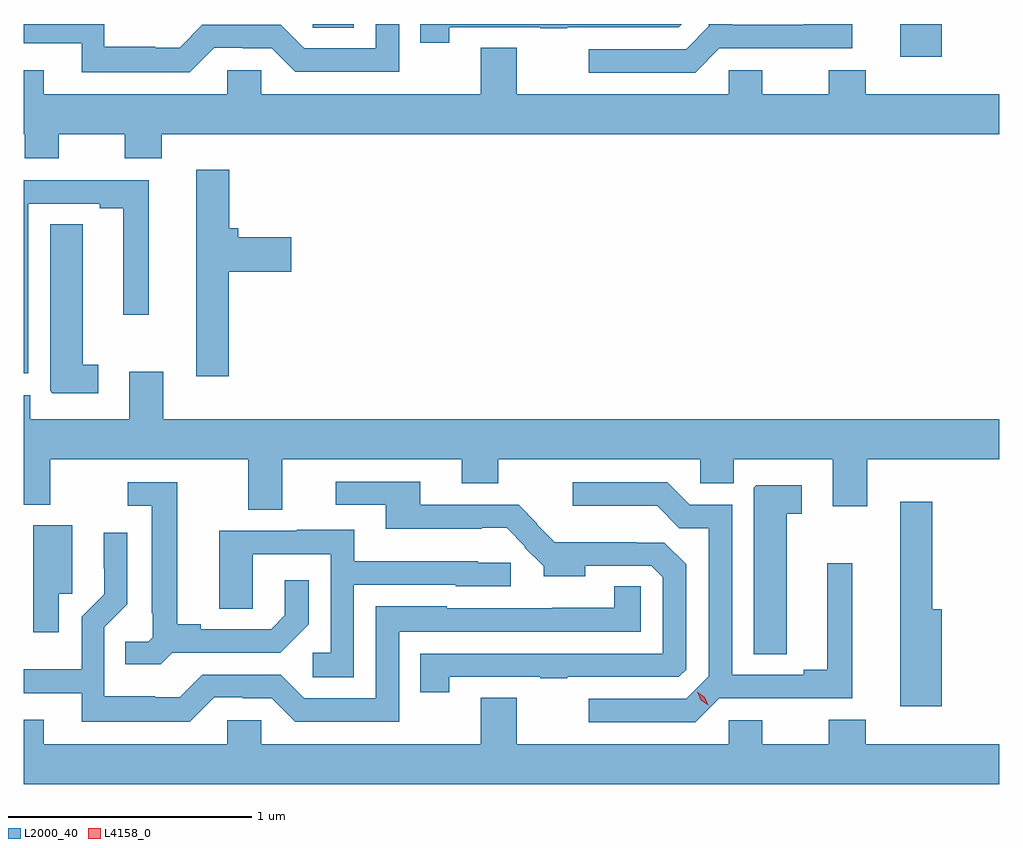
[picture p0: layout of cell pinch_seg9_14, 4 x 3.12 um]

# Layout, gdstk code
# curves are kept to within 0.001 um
import gdstk
lib = gdstk.Library(unit=1e-6, precision=1e-09)
def R(c, l, rs):  # rectangles x0, y0, x1, y1
    for r in rs: c.add(gdstk.rectangle(r[:2], r[2:], *l))
def P(c, l, *ps):  # polygons
    for p in ps: c.add(gdstk.Polygon(p, *l))
L2000_40 = (2000, 40)
L4158_0 = (4158, 0)

pinch_seg9_14 = lib.new_cell('pinch_seg9_14')
R(pinch_seg9_14, L2000_40, [(1051.106,1210.058,1051.277,1210.192), (1048.698,1210.177,1048.866,1210.192)])
P(pinch_seg9_14, L2000_40, [(1050.364,1210.092),(1050.91,1210.092),(1050.91,1210.192),(1050.71,1210.192),(1050.71,1210.188),(1050.417,1210.188),(1050.417,1210.192),(1050.321,1210.192),(1050.321,1210.182),(1050.228,1210.089),(1049.829,1210.089),(1049.829,1209.993),(1050.265,1209.993)],
  [(1049.256,1210.179),(1049.629,1210.179),(1049.629,1210.174),(1049.741,1210.174),(1049.741,1210.179),(1050.198,1210.179),(1050.211,1210.192),(1049.137,1210.192),(1049.137,1210.116),(1049.256,1210.116)],
  [(1048.293,1210.095),(1048.41,1210.095),(1048.41,1210.092),(1048.53,1210.092),(1048.626,1209.996),(1049.052,1209.996),(1049.052,1210.192),(1048.956,1210.192),(1048.956,1210.092),(1048.662,1210.092),(1048.566,1210.188),(1048.245,1210.188),(1048.152,1210.095),(1048.052,1210.095),(1048.052,1210.099),(1047.843,1210.099),(1047.843,1210.192),(1047.512,1210.192),(1047.512,1210.113),(1047.749,1210.113),(1047.749,1209.995),(1048.193,1209.995)],
  [(1047.512,1209.74),(1047.516,1209.74),(1047.516,1209.642),(1047.655,1209.642),(1047.655,1209.74),(1047.926,1209.74),(1047.926,1209.641),(1048.079,1209.641),(1048.079,1209.74),(1051.512,1209.74),(1051.512,1209.904),(1050.965,1209.904),(1050.965,1210.003),(1050.812,1210.003),(1050.812,1209.904),(1050.541,1209.904),(1050.541,1210.002),(1050.402,1210.002),(1050.402,1209.904),(1049.533,1209.904),(1049.533,1210.094),(1049.386,1210.094),(1049.386,1209.904),(1048.485,1209.904),(1048.485,1210.002),(1048.347,1210.002),(1048.347,1209.904),(1047.595,1209.904),(1047.595,1210.003),(1047.512,1210.003)],
  [(1048.352,1209.176),(1048.609,1209.176),(1048.609,1209.318),(1048.391,1209.318),(1048.391,1209.354),(1048.355,1209.354),(1048.355,1209.595),(1048.22,1209.595),(1048.22,1208.748),(1048.352,1208.748)],
  [(1047.531,1209.456),(1047.824,1209.456),(1047.824,1209.436),(1047.92,1209.436),(1047.92,1209),(1048.024,1209),(1048.024,1209.552),(1047.512,1209.552),(1047.512,1208.76),(1047.531,1208.76)],
  [(1047.817,1208.795),(1047.754,1208.795),(1047.754,1209.371),(1047.62,1209.371),(1047.62,1208.689),(1047.63,1208.679),(1047.817,1208.679)],
  [(1048.573,1208.408),(1049.309,1208.408),(1049.309,1208.309),(1049.457,1208.309),(1049.457,1208.408),(1050.285,1208.408),(1050.285,1208.31),(1050.424,1208.31),(1050.424,1208.408),(1050.83,1208.408),(1050.83,1208.214),(1050.97,1208.214),(1050.97,1208.408),(1051.512,1208.408),(1051.512,1208.572),(1048.084,1208.572),(1048.084,1208.767),(1047.944,1208.767),(1047.944,1208.572),(1047.538,1208.572),(1047.538,1208.67),(1047.512,1208.67),(1047.512,1208.221),(1047.621,1208.221),(1047.621,1208.408),(1048.433,1208.408),(1048.433,1208.2),(1048.573,1208.2)],
  [(1049.256,1207.515),(1049.629,1207.515),(1049.629,1207.51),(1049.741,1207.51),(1049.741,1207.515),(1050.198,1207.515),(1050.228,1207.545),(1050.228,1207.977),(1050.139,1208.066),(1050.023,1208.066),(1050.023,1208.068),(1049.689,1208.068),(1049.615,1208.141),(1049.617,1208.143),(1049.541,1208.22),(1049.137,1208.22),(1049.137,1208.316),(1048.791,1208.316),(1048.791,1208.22),(1048.997,1208.22),(1048.997,1208.123),(1049.39,1208.123),(1049.39,1208.126),(1049.492,1208.126),(1049.568,1208.049),(1049.565,1208.046),(1049.644,1207.968),(1049.644,1207.928),(1049.815,1207.928),(1049.815,1207.971),(1050.084,1207.971),(1050.132,1207.923),(1050.132,1207.611),(1049.137,1207.611),(1049.137,1207.452),(1049.256,1207.452)],
  [(1050.364,1207.428),(1050.91,1207.428),(1050.91,1207.981),(1050.806,1207.981),(1050.806,1207.544),(1050.71,1207.544),(1050.71,1207.524),(1050.417,1207.524),(1050.417,1208.22),(1050.243,1208.22),(1050.15,1208.313),(1049.763,1208.313),(1049.763,1208.216),(1050.109,1208.216),(1050.2,1208.125),(1050.321,1208.125),(1050.321,1207.518),(1050.228,1207.425),(1049.829,1207.425),(1049.829,1207.329),(1050.265,1207.329)],
  [(1048.122,1207.614),(1048.564,1207.614),(1048.68,1207.73),(1048.68,1207.912),(1048.583,1207.912),(1048.583,1207.767),(1048.526,1207.71),(1048.237,1207.71),(1048.237,1207.73),(1048.141,1207.73),(1048.141,1208.313),(1047.939,1208.313),(1047.939,1208.217),(1048.037,1208.217),(1048.037,1207.777),(1048.041,1207.777),(1048.041,1207.677),(1048.023,1207.659),(1047.928,1207.659),(1047.928,1207.567),(1048.074,1207.567)],
  [(1050.64,1208.185),(1050.703,1208.185),(1050.703,1208.301),(1050.516,1208.301),(1050.506,1208.291),(1050.506,1207.609),(1050.64,1207.609)],
  [(1051.277,1207.792),(1051.238,1207.792),(1051.238,1208.233),(1051.106,1208.233),(1051.106,1207.394),(1051.277,1207.394)],
  [(1047.655,1207.857),(1047.712,1207.857),(1047.712,1208.136),(1047.551,1208.136),(1047.551,1207.698),(1047.655,1207.698)],
  [(1048.866,1207.893),(1049.283,1207.893),(1049.283,1207.887),(1049.508,1207.887),(1049.508,1207.983),(1049.373,1207.983),(1049.373,1207.99),(1048.867,1207.99),(1048.867,1208.119),(1048.631,1208.119),(1048.631,1208.115),(1048.313,1208.115),(1048.313,1207.795),(1048.452,1207.795),(1048.452,1208.019),(1048.77,1208.019),(1048.77,1207.614),(1048.698,1207.614),(1048.698,1207.513),(1048.866,1207.513)],
  [(1048.293,1207.431),(1048.41,1207.431),(1048.41,1207.428),(1048.53,1207.428),(1048.626,1207.332),(1049.052,1207.332),(1049.052,1207.701),(1050.042,1207.701),(1050.042,1207.886),(1049.934,1207.886),(1049.934,1207.798),(1049.247,1207.797),(1049.247,1207.804),(1048.956,1207.804),(1048.956,1207.428),(1048.662,1207.428),(1048.566,1207.524),(1048.245,1207.524),(1048.152,1207.431),(1048.052,1207.431),(1048.052,1207.435),(1047.843,1207.435),(1047.843,1207.719),(1047.936,1207.812),(1047.936,1208.107),(1047.84,1208.107),(1047.84,1207.96),(1047.842,1207.96),(1047.842,1207.854),(1047.75,1207.762),(1047.75,1207.546),(1047.512,1207.546),(1047.512,1207.449),(1047.749,1207.449),(1047.749,1207.331),(1048.193,1207.331)],
  [(1051.512,1207.24),(1050.965,1207.24),(1050.965,1207.339),(1050.812,1207.339),(1050.812,1207.24),(1050.541,1207.24),(1050.541,1207.338),(1050.402,1207.338),(1050.402,1207.24),(1049.533,1207.24),(1049.533,1207.43),(1049.386,1207.43),(1049.386,1207.24),(1048.485,1207.24),(1048.485,1207.338),(1048.347,1207.338),(1048.347,1207.24),(1047.595,1207.24),(1047.595,1207.339),(1047.512,1207.339),(1047.512,1207.076),(1051.512,1207.076)])
P(pinch_seg9_14, L4158_0, [(1050.319,1207.398),(1050.288,1207.42),(1050.273,1207.454),(1050.273,1207.454),(1050.273,1207.454),(1050.304,1207.432),(1050.319,1207.398),(1050.319,1207.398)])

lib.write_gds('pinch_seg9_14.gds')
